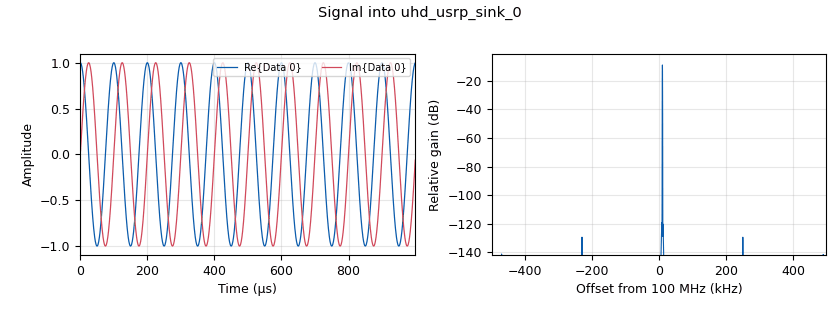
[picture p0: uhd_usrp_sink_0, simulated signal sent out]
options:
  parameters:
    generate_options: qt_gui
    id: n200RFTester
    output_language: python
    title: N200 RF Tester w GNU Radio
  states: {}

blocks:
- name: signal_src_freq
  id: variable_qtgui_range
  parameters:
    start: '0'
    step: '1000'
    stop: '500000'
    value: '10000'
  states: {}
- name: signal_src_samp_rate
  id: variable_qtgui_range
  parameters:
    start: '1000'
    step: '1000'
    stop: '1000000'
    value: '1000000'
  states: {}
- name: uhd_bw
  id: variable_qtgui_range
  parameters:
    start: '1000'
    step: '10000'
    stop: '56000000'
    value: '1000000'
  states: {}
- name: uhd_center_freq
  id: variable_qtgui_range
  parameters:
    start: '70000000'
    step: '1000000'
    stop: '6000000000'
    value: '100000000'
  states: {}
- name: uhd_gain
  id: variable_qtgui_range
  parameters:
    start: '0'
    step: '1'
    stop: '90'
    value: '1'
  states: {}
- name: uhd_samp_rate
  id: variable_qtgui_range
  parameters:
    start: '32000'
    step: '10000'
    stop: '56000000'
    value: '1000000'
  states: {}
- name: analog_sig_source_x_0
  id: analog_sig_source_x
  parameters:
    amp: '1'
    freq: signal_src_freq
    offset: '0'
    phase: '0'
    samp_rate: signal_src_samp_rate
    type: complex
    waveform: analog.GR_COS_WAVE
  states: {}
- name: qtgui_sink_x_0
  id: qtgui_sink_x
  parameters:
    bw: uhd_bw
    fc: uhd_center_freq
    fftsize: '1024'
    type: complex
  states: {}
- name: uhd_usrp_sink_0
  id: uhd_usrp_sink
  parameters:
    ant0: '"TX/RX"'
    bw0: uhd_bw
    center_freq0: uhd_center_freq
    gain0: uhd_gain
    samp_rate: uhd_samp_rate
    sync: sync
    type: fc32
  states: {}
- name: uhd_usrp_source_0
  id: uhd_usrp_source
  parameters:
    ant0: '"RX2"'
    bw0: uhd_bw
    center_freq0: uhd_center_freq
    gain0: uhd_gain
    samp_rate: uhd_samp_rate
    sync: sync
    type: fc32
  states: {}

connections:
- [analog_sig_source_x_0, '0', uhd_usrp_sink_0, '0']
- [uhd_usrp_source_0, '0', qtgui_sink_x_0, '0']

metadata:
  file_format: 1
  grc_version: 3.10.7.0
